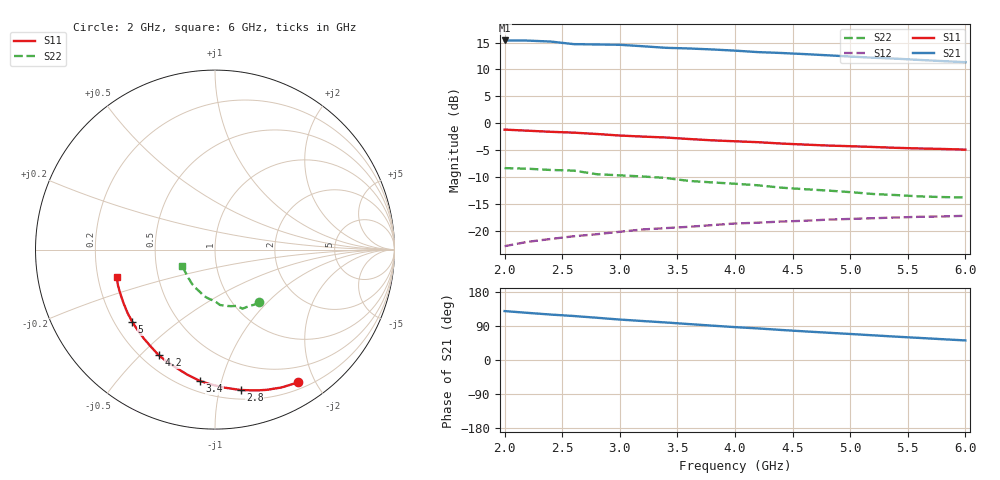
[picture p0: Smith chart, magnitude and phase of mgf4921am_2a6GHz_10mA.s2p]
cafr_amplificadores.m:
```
clear, clc, close all;

%% Definicion de Variables e Importar parametros S
f=2e9;
GT_dB=16.3;
Z0=50;
gammaOPT=0.86*exp(1j*13.9*pi/180);
NFmin_dB = 0.36;
Fmin      = 10^(NFmin_dB/10);   % factor de ruido mínimo
Rn        = 0.23;               % ohmios

S=sparameters('mgf4921am_2a6GHz_10mA.s2p');
freq=S.Frequencies;
S=S.Parameters;

% Índice de la frecuencia más cercana a f
[~, idx] = min(abs(freq - f));

% Parámetros S a esa frecuencia
S = S(:,:,idx);       % matriz Nport x Nport

S11 = S(1,1);
S21 = S(2,1);
S12 = S(1,2);
S22 = S(2,2);

%% Utilidades
GL = @(GamL) (1 - abs(GamL).^2) ./ abs(1 - S22.*GamL).^2;
GS = @(GamS) (1 - abs(GamS).^2) ./ abs(1 - S11.*GamS).^2;
F_fun  = @(GamS) Fmin + (4*Rn/Z0) .* ...
    (abs(GamS - gammaOPT).^2 ./ ((1 - abs(GamS).^2) * abs(1 + gammaOPT)^2));


%% ------------------ Test de estabilidad K - Delta y mu ------------------
Delta = S11*S22 - S12*S21;

K = (1 - abs(S11)^2 - abs(S22)^2 + abs(Delta)^2) / ( 2*abs(S12*S21) );
mu = (1 - abs(S11)^2) / ( abs(S22 - Delta*conj(S11)) + abs(S12*S21) );

fprintf('f = %.3f GHz\n', f/1e9);
fprintf('|Delta| = %.4f\n', abs(Delta));
fprintf('K       = %.3f\n', K);
fprintf('mu      = %.3f\n\n', mu);

if (K>1) && (abs(Delta)<1)
    fprintf('=> El transistor es incondicionalmente estable según K-Delta.\n');
else
    fprintf('=> El transistor es CONDICIONALMENTE estable.\n');
end

if mu > 1
    fprintf('=> mu > 1: margen de estabilidad aceptable.\n');
else
    fprintf('=> mu <= 1: margen de estabilidad pobre.\n');
end

% ------------------ Círculos de estabilidad analíticos ------------------
phi = linspace(0,2*pi,400);

% Fuente (plano Gamma_S)
Cs_est = conj((S11 - Delta*conj(S22))) / (abs(S11)^2 - abs(Delta)^2);
Rs_est = abs(S12*S21 / (abs(S11)^2 - abs(Delta)^2));
Gamma_circle_S = Cs_est + Rs_est*exp(1j*phi);

% Carga (plano Gamma_L)
CL_est = conj((S22 - Delta*conj(S11))) / (abs(S22)^2 - abs(Delta)^2);
RL_est = abs(S12*S21 / (abs(S22)^2 - abs(Delta)^2));
Gamma_circle_L = CL_est + RL_est*exp(1j*phi);

% ------------------ Regiones estables numéricas ------------------
% Malla densa dentro del círculo unidad
Nr = 200; Nth = 400;
r   = linspace(0,0.99,Nr);
th  = linspace(-pi,pi,Nth);
[RR, TT] = meshgrid(r, th);
Gamma_grid = RR .* exp(1j*TT);

% --- Región estable en plano de carga (Gamma_L):
% Estabilidad respecto a la fuente: |Gamma_in| < 1
GammaL_grid = Gamma_grid;
Gamma_in = S11 + (S12*S21 .* GammaL_grid) ./ (1 - S22 .* GammaL_grid);
mask_stable_L = abs(Gamma_in) < 1;

% --- Región estable en plano de fuente (Gamma_S):
% Estabilidad respecto a la carga: |Gamma_out| < 1
GammaS_grid = Gamma_grid;
Gamma_out = S22 + (S12*S21 .* GammaS_grid) ./ (1 - S11 .* GammaS_grid);
mask_stable_S = abs(Gamma_out) < 1;

% ------------------ Plot: plano de FUENTE ------------------
figure('color','white');
hS = smithplot;
hold on;

% --- puntos estables (fuente) ---
Gs_stable = GammaS_grid(mask_stable_S);
hRegionS = plot(real(Gs_stable), imag(Gs_stable), '.', ...
                'MarkerSize', 3);    % lo que se ve en la figura

% --- círculo de estabilidad analítico (fuente) ---
hCircleS = plot(real(Gamma_circle_S), imag(Gamma_circle_S), 'k', ...
                'LineWidth', 1.5);

% --- curva dummy solo para la leyenda (misma apariencia que una línea) ---
hDummyRegionS = plot(NaN, NaN, '-', ...
                     'Color', get(hRegionS,'Color'), ...
                     'LineWidth', 1.5);

title('Plano de fuente: regiones estables y círculo de estabilidad');

% Leyenda usando el dummy + el círculo
lg = legend([hDummyRegionS hCircleS], ...
    'Región estable (|\Gamma_{out}|<1)', ...
    'Círculo de estabilidad (fuente)', ...
    'Location','best');
lg.FontSize = 18;

% ------------------ Plot: plano de CARGA ------------------
figure('color','white');
hL = smithplot;
hold on;

% --- puntos estables (carga) ---
Gl_stable = GammaL_grid(mask_stable_L);
hRegion = plot(real(Gl_stable), imag(Gl_stable), '.', ...
               'MarkerSize', 3);   % esto es lo que se ve

% --- círculo de estabilidad analítico ---
hCircle = plot(real(Gamma_circle_L), imag(Gamma_circle_L), 'k', ...
               'LineWidth', 1.5);

% --- curva dummy solo para la leyenda (misma color que los puntos) ---
hDummyRegion = plot(NaN, NaN, '-', ...
                    'Color', get(hRegion,'Color'), ...
                    'LineWidth', 1.5);

title('Plano de carga: regiones estables y círculo de estabilidad');

% En la leyenda usamos el dummy + el círculo
lg = legend([hDummyRegion hCircle], ...
    'Región estable (|Γ_{in}|<1)', ...
    'Círculo de estabilidad (carga)', ...
    'Location','best');
lg.FontSize = 18;


%% Diseño Unilateral

U=abs(S11)*abs(S21)*abs(S12)*abs(S22)/((1-abs(S11)^2)*(1-abs(S22)^2));

G0=abs(S21)^2;
G0_dB=10*log10(G0);


% Suponiendo la menor figura de ruido gammaS=gammaOPT
gammaS=gammaOPT;
Gs_Fmin=GS(gammaS);
Gs_Fmin_dB=10*log10(Gs_Fmin);
gammaL=conj(S22);
GL_max=GL(gammaL);
GL_max_dB=10*log10(GL_max);

G_TU=Gs_Fmin_dB+G0_dB+GL_max_dB;

fprintf('Ganancia unilateral máxima con NF mínimo: %.2f dB\n', G_TU);
fprintf('Ganancia objetivo: %.2f dB\n', GT_dB);

if G_TU < GT_dB
    fprintf('==> La ganancia UNILATERAL con NF mínimo es INSUFICIENTE (%.2f dB por debajo de la especificación).\n', ...
            GT_dB - G_TU);
else
    fprintf('==> La ganancia cumple la especificación.\n');
end

% Hay que buscar la GS que ofrezca la menor figura de ruido y que se cumpla la GT

Gs_req_dB = GT_dB - (G0_dB + GL_max_dB);      % lo que debe aportar la fuente
Gs_req = 10^(Gs_req_dB/10);       % lineal


% Barrido sobre la carta de Smith para buscar rhoS
Ngamma   = 10001;
Ntheta = 1441;
gamma    = linspace(0,0.99,Ngamma);     % magnitud de Gamma_S
theta  = linspace(-pi,pi,Ntheta);   % ángulo
[RR,TT] = meshgrid(gamma,theta);
gammaS_grid = RR .* exp(1j*TT);       % todos los posibles Gamma_S

Gs_grid_lin = GS(gammaS_grid);
Gs_grid_dB  = 10*log10(Gs_grid_lin);

% Figura de ruido para cada punto
F_grid    = F_fun(gammaS_grid);
NF_grid_dB = 10*log10(F_grid);

% Condición: Gs = Gs_req (con un pequeño margen)
margen_dB = 0.001;   % ajustar el margen
mask = Gs_grid_dB >= (Gs_req_dB - margen_dB);

% Entre los que cumplen ganancia, buscamos mínimo NF
NF_masked = NF_grid_dB;
NF_masked(~mask) = inf;    % descartamos puntos que no cumplen la ganancia

[NF_best_dB, idx_best] = min(NF_masked(:));

if isinf(NF_best_dB)
    error('No se ha encontrado ningún rhoS que cumpla la ganancia requerida.');
end

gammaS_best    = gammaS_grid(idx_best);
Gs_best_dB   = Gs_grid_dB(idx_best);
Gs_best_lin  = Gs_grid_lin(idx_best);

% Resultados
fprintf('\n=== Diseño compromiso (unilateral) ===\n');
fprintf('Gs_req = %.3f dB\n', Gs_req_dB);
fprintf('GammaS_best: |%.3f| ang=%.1f deg\n', ...
    abs(gammaS_best), angle(gammaS_best)*180/pi);
fprintf('Gs(GammaS_best) = %.3f dB\n', Gs_best_dB);
fprintf('NF(GammaS_best) = %.3f dB (NFmin = %.3f dB)\n', NF_best_dB, NFmin_dB);

% Impedancia equivalente de fuente
Zs_best = Z0 * (1 + gammaS_best) / (1 - gammaS_best);
fprintf('Zs_best = %.2f + j%.2f ohm\n', real(Zs_best), imag(Zs_best));

% Ganancia total que obtendrías con este rhoS y GL_max
GT_best_dB = Gs_best_dB + G0_dB + GL_max_dB;
fprintf('GT con GammaS_best y GL_max = %.3f dB (objetivo %.3f dB)\n', ...
    GT_best_dB, GT_dB);



%% PLOT DE IMPEDANCIAS SELECCIONADAS Y CIRCULOS DE GANANCIA Y NF
% Impedancias de entrada y salida del diseño

% Entrada (GammaS_best)
Zs_best = Z0 * (1 + gammaS_best) / (1 - gammaS_best);
fprintf('\nImpedancia de entrada (diseño): Zs_best = %.2f + j%.2f ohm\n', ...
        real(Zs_best), imag(Zs_best));

% Salida (GammaL = conj(S22))
ZL_best = Z0 * (1 + gammaL) / (1 - gammaL);
fprintf('Impedancia de salida (diseño): ZL_best = %.2f + j%.2f ohm\n', ...
        real(ZL_best), imag(ZL_best));


% ================= Carta de Smith de ENTRADA =================
%   - círculo de ganancia normalizada g_S constante (Gs_req)
%   - círculo de figura de ruido constante (NF = NF_best_dB)
%   - punto GammaS_best

figure('color','white');
smithplot; hold on;

% Ganancia máxima de entrada (unilateral)
Gs_max = 1 / (1 - abs(S11)^2);          % lineal
gS_req = Gs_req / Gs_max;               % ganancia normalizada g_S = Gs/Gs_max

% ---------------- CÍRCULO DE ESTABILIDAD (FUENTE) ----------------
Delta = S11*S22 - S12*S21;

Cs_est = conj((S11 - Delta*conj(S22))) / (abs(S11)^2 - abs(Delta)^2);
Rs_est = abs(S12*S21 / (abs(S11)^2 - abs(Delta)^2));

phi = linspace(0,2*pi,400);
Gamma_circle_EstabS = Cs_est + Rs_est * exp(1j*phi);
plot(real(Gamma_circle_EstabS), imag(Gamma_circle_EstabS), '-', 'LineWidth', 1.5);

% ----------- CÍRCULO gS (usando fórmulas correctas de diapositiva) -------
Cs = (gS_req * conj(S11)) / ( 1 - (1 - gS_req)*abs(S11)^2 );
Rs = sqrt( 1 - gS_req)*(1 - abs(S11)^2) / (1 - (1 - gS_req)*abs(S11)^2 );


Gamma_circle_Gs = Cs + Rs * exp(1j*phi);
plot(real(Gamma_circle_Gs), imag(Gamma_circle_Gs), 'LineWidth', 1.5);

% Círculo de figura de ruido constante NF = NF_best_dB
Ftarget = 10^(NF_best_dB/10);   % factor de ruido objetivo

N = (Ftarget - Fmin) * abs(1 + gammaOPT)^2 / (4*Rn/Z0);

Cf = gammaOPT / (N + 1);
Rf = sqrt( N * (N + 1 - abs(gammaOPT)^2) ) / (N + 1);

Gamma_circle_NF = Cf + Rf * exp(1j*phi);
plot(real(Gamma_circle_NF), imag(Gamma_circle_NF), ':', 'LineWidth', 1.5);


% Punto de diseño GammaS_best
plot(real(gammaS_best), imag(gammaS_best), 'rx', 'MarkerSize', 8, 'LineWidth', 2);

title('Entrada: círculos de g_S y NF');
lg=legend('Círculo de Estabilidad de Fuente','Círculo g_S = const', 'Círculo NF = const', '\Gamma_S^{best}', ...
       'Location', 'best');
lg.FontSize = 18;


% ================= Carta de Smith de SALIDA ==================
%   - punto GammaL = conj(S22)

figure('color','white');
smithplot; hold on;

% ---------------- CÍRCULO DE ESTABILIDAD (CARGA) ----------------
CL_est = conj((S22 - Delta*conj(S11))) / (abs(S22)^2 - abs(Delta)^2);
RL_est = abs(S12*S21 / (abs(S22)^2 - abs(Delta)^2));

Gamma_circle_EstabL = CL_est + RL_est * exp(1j*phi);
plot(real(Gamma_circle_EstabL), imag(Gamma_circle_EstabL), '-', 'LineWidth', 1.5);

% Impedancia de diseño
plot(real(gammaL), imag(gammaL), 'bx', 'MarkerSize', 8, 'LineWidth', 2);
% text(real(gammaL)+0.05, imag(gammaL), ...
%     sprintf('Z_L = %.1f + j%.1f \\Omega', real(ZL_best), imag(ZL_best)), ...
%     'FontSize', 10);

title('Salida: punto de carga \Gamma_L');
lg=legend('Círculo de Estabilidad de Carga','\Gamma_L^{best}', 'Location', 'best');
lg.FontSize = 18;
```
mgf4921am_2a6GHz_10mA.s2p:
!copiados por mi del data sheet para tener resolucion de 0.2 GHz
! MGF4921AM  (VDS=2V, lDS=10mA, Ta=room temperature)
! S-parameters f=2-6GHz
! Board:FR4, 0.8mmt.
! Jun. /2022
# GHz S MA R 50
!  f  S11  S21  S12  S22
! (GHz)  Magn.  Angle  Magn.  Angle  Magn.  Angle  Magn.  Angle
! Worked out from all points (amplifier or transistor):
!   21 points, 2 GHz to 6 GHz, reference 50 ohm
!   highest |S21| = 15.4 dB at 2 GHz (marker M1)
!   |S21| within 3 dB of that: start of sweep to 5.008 GHz
!   unconditionally stable (mu >= 1): nowhere
!   at 2.6 GHz: K = 0.39, MSG = 17.9 dB, |S12| = -21.0 dB
!   at 4 GHz: K = 0.57, MSG = 16.1 dB, |S12| = -18.6 dB
!   at 6 GHz: K = 0.78, MSG = 14.3 dB, |S12| = -17.2 dB
!   S11 on the Smith chart (normalised r, x): 2 GHz: 0.29, -1.77; 2.8 GHz: 0.27, -1.16; 3.4 GHz: 0.27, -0.86; 4.2 GHz: 0.27, -0.57; 5 GHz: 0.27, -0.35; 6 GHz: 0.28, -0.13
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2  0.873 -57.9  5.887 129.1  0.072 54.7  0.383 -50.0
2.4  0.833 -69.7  5.75 119.9  0.084 48.8  0.368 -58.7
2.6  0.818 -73.6  5.442 116.1  0.089 45.1  0.363 -65.0
2.8  0.795 -79.7  5.401 111.5  0.093 43.0  0.336 -68.9
3  0.769 -86.7  5.366 106.7  0.098 40.3  0.328 -73.9
3.4  0.737 -96.5  5.029 99.0  0.106 34.4  0.31 -84.8
4  0.68 -113.1  4.733 86.8  0.117 27.7  0.274 -98.2
4.2  0.667 -118.0  4.587 83.3  0.119 25.1  0.265 -104.0
4.6  0.634 -128.9  4.399 75.6  0.124 21.2  0.244 -113.4
5  0.612 -138.9  4.172 68.7  0.129 16.9  0.229 -124.4
6  0.569 -164.4  3.697 51.6  0.138 7.3  0.204 -152.6
